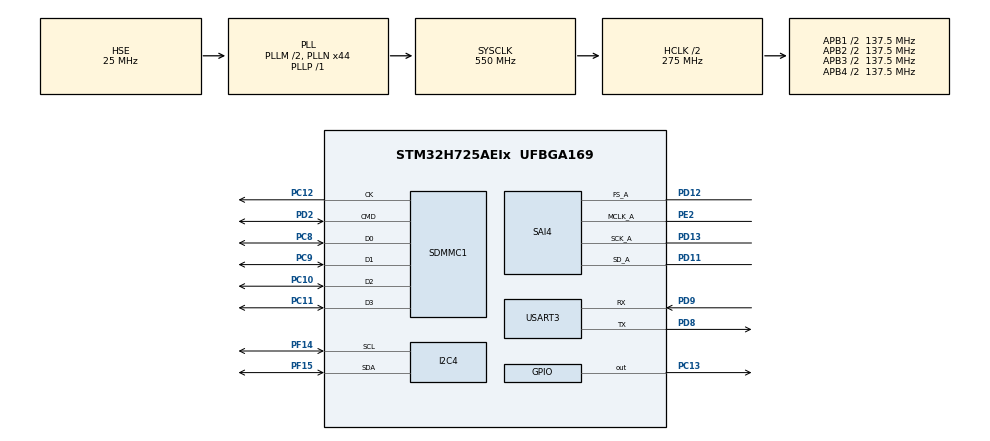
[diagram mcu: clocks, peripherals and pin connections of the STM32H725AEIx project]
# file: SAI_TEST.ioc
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Mcu.Family=STM32H7
PH0-OSC_IN.Signal=RCC_OSC_IN
RCC.CortexFreq_Value=550000000
RCC.HPRE=RCC_HCLK_DIV2
VP_FATFS_VS_SDIO.Mode=SDIO
RCC.PLL1_VCI_Range=RCC_PLL1VCIRANGE_3
PC12.Signal=SDMMC1_CK
PC10.Signal=SDMMC1_D2
RCC.PLLFRACN=0
RCC.PLL1_VCO_SEL-AdvancedSettings=RCC_PLL1VCOMEDIUM
SAI4.MonoStereoMode-SAI_A_MasterWithClock=SAI_STEREOMODE
PD9.Mode=Asynchronous
RCC.SYSCLKSource=RCC_SYSCLKSOURCE_PLLCLK
ProjectManager.StackSize=0x400
USART3.VirtualMode-Asynchronous=VM_ASYNC
PD13.Signal=SAI4_SCK_A
I2C4.Timing=0x60404E72
RCC.HCLKFreq_Value=275000000
PE2.Mode=SAI_A_MasterWithClock
PD8.Signal=USART3_TX
SAI4.OutputDrive-SAI_A_MasterWithClock=SAI_OUTPUTDRIVE_DISABLE
PH0-OSC_IN.Mode=HSE-External-Oscillator
RCC.DIVM3=2
RCC.DIVM1=2
RCC.PLL1_VCI_Range-AdvancedSettings=RCC_PLL1VCIRANGE_0
PC14-OSC32_IN.Mode=LSE-External-Oscillator
SAI4.VirtualProtocol-SAI_A_BASIC=VM_BASIC_PROTOCOL
RCC.SPDIFCLockSelection=RCC_SPDIFRXCLKSOURCE_HSI
PC9.Mode=SD_4_bits_Wide_bus
PE2.Signal=SAI4_MCLK_A
RCC.PLL2_VCO_SEL-AdvancedSettings=RCC_PLL2VCOMEDIUM
PF15.Mode=I2C
RCC.APB3Freq_Value=137500000
PH1-OSC_OUT.Mode=HSE-External-Oscillator
Mcu.Package=UFBGA169
RCC.SAI4ACLockSelection=RCC_SAI4ACLKSOURCE_PLL3
RCC.D1PPRE=RCC_APB3_DIV2
PD12.Signal=SAI4_FS_A
SAI4.AudioFrequency-SAI_A_MasterWithClock=SAI_AUDIO_FREQUENCY_44K
PC11.Mode=SD_4_bits_Wide_bus
RCC.APB4Freq_Value=137500000
PF14.Signal=I2C4_SCL
SAI4.RealAudioFreq-SAI_A_MasterWithClock=46.875 KHz
RCC.PLLSourceVirtual=RCC_PLLSOURCE_HSE
SAI4.ErrorAudioFreq-SAI_A_MasterWithClock=6.53 %
PC15-OSC32_OUT.Mode=LSE-External-Oscillator
RCC.DIVQ3=1
RCC.DIVQ1=44
SAI4.FIFOThreshold-SAI_A_MasterWithClock=SAI_FIFOTHRESHOLD_FULL
RCC.SAI4BCLockSelection=RCC_SAI4BCLKSOURCE_PLL3
PC11.Signal=SDMMC1_D3
PC13.Signal=GPIO_Output
SAI4.Instance-SAI_A_MasterWithClock=SAI$Index_Block_A
RCC.DIVP3=25
PC8.Signal=SDMMC1_D0
PC10.Mode=SD_4_bits_Wide_bus
RCC.D2PPRE2=RCC_APB2_DIV2
RCC.D2PPRE1=RCC_APB1_DIV2
RCC.DIVP1=1
PD9.Signal=USART3_RX
PC14-OSC32_IN.Signal=RCC_OSC32_IN
SAI4.InitProtocol-SAI_A_MasterWithClock=Enable
SDMMC1.TransceiverPresent=SDMMC_TRANSCEIVER_NOT_PRESENT
SAI4.VirtualMode-SAI_A_MasterWithClock=VM_MASTER
ProjectManager.TargetToolchain=STM32CubeIDE
SAI4.MckOutput-SAI_A_MasterWithClock=SAI_MCK_OUTPUT_ENABLE
RCC.DIVN3=48
PD13.Mode=SAI_A_MasterWithClock
RCC.DIVN1=44
RCC.USBFreq_Value=12500000
SAI4.NoDivider-SAI_A_MasterWithClock=SAI_MASTERDIVIDER_ENABLE
PC15-OSC32_OUT.Signal=RCC_OSC32_OUT
PD8.Mode=Asynchronous
PD2.Mode=SD_4_bits_Wide_bus
PC12.Mode=SD_4_bits_Wide_bus
board=custom
RCC.APB2Freq_Value=137500000
PF14.Mode=I2C
RCC.ADCFreq_Value=50390625
PH1-OSC_OUT.Signal=RCC_OSC_OUT
PF15.Signal=I2C4_SDA
Mcu.Name=STM32H725AEIx
RCC.PLL3_VCI_Range-AdvancedSettings=RCC_PLL3VCIRANGE_3
PC8.Mode=SD_4_bits_Wide_bus
RCC.SYSCLKFreq_VALUE=550000000
PD12.Mode=SAI_A_MasterWithClock
PD11.Signal=SAI4_SD_A
VP_SAI4_VP_$IpInstance_SAIA_SAI_BASIC.Mode=SAI_A_BASIC
ProjectManager.HeapSize=0x200
PD11.Mode=SAI_A_MasterWithClock
NVIC.PriorityGroup=NVIC_PRIORITYGROUP_4
PE3.Signal=SAI4_SD_B
RCC.D3PPRE=RCC_APB4_DIV2
PC9.Signal=SDMMC1_D1
PD2.Signal=SDMMC1_CMD
RCC.APB1Freq_Value=137500000

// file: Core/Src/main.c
/* USER CODE BEGIN Header */
/**
  ******************************************************************************
  * @file           : main.c
  * @brief          : Main program body
  ******************************************************************************
  * @attention
  *
  * <h2><center>&copy; Copyright (c) 2021 STMicroelectronics.
  * All rights reserved.</center></h2>
  *
  * This software component is licensed by ST under BSD 3-Clause license,
  * the "License"; You may not use this file except in compliance with the
  * License. You may obtain a copy of the License at:
  *                        opensource.org/licenses/BSD-3-Clause
  *
  ******************************************************************************
  */
/* USER CODE END Header */
#include "main.h"
#include "fatfs.h"
#include "i2c.h"
#include "sai.h"
#include "sdmmc.h"
#include "usart.h"
#include "gpio.h"

/* USER CODE BEGIN Includes */
#include "LOG.h"
#include "mp3Player.h"
#include "wm8960.h"
/* USER CODE END Includes */

/* USER CODE BEGIN PV */
DIR DirInfo;
FILINFO FilInfo;
uint8_t buffer[2304];
/* USER CODE END PV */

void SystemClock_Config(void);
/* USER CODE BEGIN PFP */

void FatReadDirTest(char *path)
{
// FRESULT res; /* FatFs 函数通用结果代码 */
#if _USE_LFN//如果使能支持长文件名 先对下面两项初始�???????
    fileinfo.lfsize=_MAX_LFN * 2 + 1;//
    fileinfo.lfname=(TCHAR*)FileName;//
#endif
    if(f_opendir(&DirInfo,(const TCHAR*)path) == FR_OK)/* 打开文件夹目录成功，目录信息已经在dir结构体中保存 */
    {
        while(f_readdir(&DirInfo, &FilInfo) == FR_OK)  /* 读文件信息到文件状�?�结构体�??????? */
        {
            if(!FilInfo.fname[0]) break; /* 如果文件名为‘\0'，说明读取完成结�??????? */
            LOG("%s/",path);//打印路径
#if _USE_LFN
            LOG("文件名：%s\r\n",fileinfo.lfname );//打印信息到串�???????
#else
            LOG("文件名：%s\r\n", FilInfo.fname);//
#endif
        }
    }
}

/* USER CODE END PFP */

int main(void)
{

  /* MCU Configuration--------------------------------------------------------*/

  /* Reset of all peripherals, Initializes the Flash interface and the Systick. */
  HAL_Init();

  /* Configure the system clock */
  SystemClock_Config();

  /* Initialize all configured peripherals */
  MX_GPIO_Init();
  MX_USART3_UART_Init();
  MX_SAI4_Init();
  MX_SDMMC1_SD_Init();
  MX_FATFS_Init();
  MX_I2C4_Init();
  /* USER CODE BEGIN 2 */
  if(f_mount(&SDFatFS,"0:",0) == FR_OK){
	  LOG("mount OK\r\n");
	  FatReadDirTest("/");
	  WM8960_Init();
	  FIL file;
	  uint8_t buffer[2304*2];
	  UINT bw;
	  FRESULT result;
	  f_open(&file,"0:/1.wav",FA_READ);
	  if(result!=FR_OK)
	  	{
	  		LOG("读取失败 ->\r\n");
	  		return;
	  	}
	  while(1){
		 // LOG(".");
	  f_read(&file,buffer,2304*2,&bw);
	  HAL_SAI_Transmit(&hsai_BlockA4, (uint8_t *)buffer, 2304, 10000);
	  if(f_eof(&file)) 		//mp3文件读取完成，退出
	  		{
	  			LOG("END\r\n");
	  			break;
	  		}
	  }

	 // mp3PlayerDemo("0:/2.mp3");
  }else{
	  LOG("mount Failed\r\n");
  }
  /* USER CODE END 2 */

  /* Infinite loop */
  while (1)
  {

    /* USER CODE BEGIN 3 */
	LOG("I am here\n\r");
	HAL_Delay(1000);
  }
  /* USER CODE END 3 */
}

void SystemClock_Config(void)
{
  RCC_OscInitTypeDef RCC_OscInitStruct = {0};
  RCC_ClkInitTypeDef RCC_ClkInitStruct = {0};

  /** Supply configuration update enable
  */
  HAL_PWREx_ConfigSupply(PWR_DIRECT_SMPS_SUPPLY);
  /** Configure the main internal regulator output voltage
  */
  __HAL_PWR_VOLTAGESCALING_CONFIG(PWR_REGULATOR_VOLTAGE_SCALE0);

  while(!__HAL_PWR_GET_FLAG(PWR_FLAG_VOSRDY)) {}
  /** Macro to configure the PLL clock source
  */
  __HAL_RCC_PLL_PLLSOURCE_CONFIG(RCC_PLLSOURCE_HSE);
  /** Initializes the RCC Oscillators according to the specified parameters
  * in the RCC_OscInitTypeDef structure.
  */
  RCC_OscInitStruct.OscillatorType = RCC_OSCILLATORTYPE_HSE;
  RCC_OscInitStruct.HSEState = RCC_HSE_ON;
  RCC_OscInitStruct.PLL.PLLState = RCC_PLL_ON;
  RCC_OscInitStruct.PLL.PLLSource = RCC_PLLSOURCE_HSE;
  RCC_OscInitStruct.PLL.PLLM = 2;
  RCC_OscInitStruct.PLL.PLLN = 44;
  RCC_OscInitStruct.PLL.PLLP = 1;
  RCC_OscInitStruct.PLL.PLLQ = 44;
  RCC_OscInitStruct.PLL.PLLR = 2;
  RCC_OscInitStruct.PLL.PLLRGE = RCC_PLL1VCIRANGE_3;
  RCC_OscInitStruct.PLL.PLLVCOSEL = RCC_PLL1VCOWIDE;
  RCC_OscInitStruct.PLL.PLLFRACN = 0;
  if (HAL_RCC_OscConfig(&RCC_OscInitStruct) != HAL_OK)
  {
    Error_Handler();
  }
  /** Initializes the CPU, AHB and APB buses clocks
  */
  RCC_ClkInitStruct.ClockType = RCC_CLOCKTYPE_HCLK|RCC_CLOCKTYPE_SYSCLK
                              |RCC_CLOCKTYPE_PCLK1|RCC_CLOCKTYPE_PCLK2
                              |RCC_CLOCKTYPE_D3PCLK1|RCC_CLOCKTYPE_D1PCLK1;
  RCC_ClkInitStruct.SYSCLKSource = RCC_SYSCLKSOURCE_PLLCLK;
  RCC_ClkInitStruct.SYSCLKDivider = RCC_SYSCLK_DIV1;
  RCC_ClkInitStruct.AHBCLKDivider = RCC_HCLK_DIV2;
  RCC_ClkInitStruct.APB3CLKDivider = RCC_APB3_DIV2;
  RCC_ClkInitStruct.APB1CLKDivider = RCC_APB1_DIV2;
  RCC_ClkInitStruct.APB2CLKDivider = RCC_APB2_DIV2;
  RCC_ClkInitStruct.APB4CLKDivider = RCC_APB4_DIV2;

  if (HAL_RCC_ClockConfig(&RCC_ClkInitStruct, FLASH_LATENCY_3) != HAL_OK)
  {
    Error_Handler();
  }
}

void Error_Handler(void)
{
  __disable_irq();
  while (1)
  {
  }
}

/************************ (C) COPYRIGHT STMicroelectronics *****END OF FILE****/
